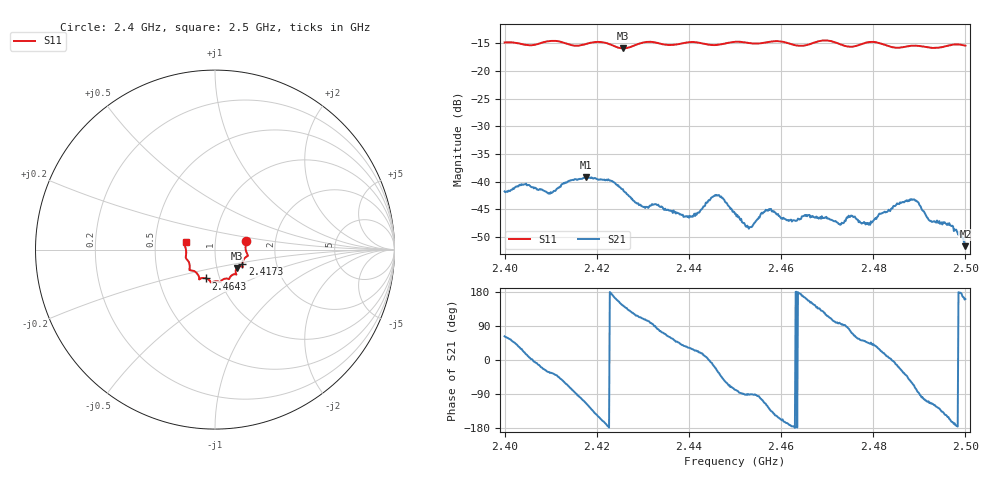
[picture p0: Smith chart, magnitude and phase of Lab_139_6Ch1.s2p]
# Hz S RI R 50
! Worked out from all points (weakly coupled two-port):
!   601 points, 2.4 GHz to 2.5 GHz, reference 50 ohm
!   highest |S21| = -39.19 dB at 2.4177 GHz (marker M1); lowest = -51.7 dB at 2.5 GHz (marker M2)
!   lowest |S11| = -15.9 dB at 2.4257 GHz (marker M3), VSWR 1.38, Z = 62.5 - j13.1 ohm
!   |S11| at or under -10 dB: start of sweep to end of sweep
!   S12 and S22 are empty: the file has one direction only
!   S11 on the Smith chart (normalised r, x): 2.4 GHz: 1.41, +0.14; 2.4173 GHz: 1.34, -0.23; 2.4643 GHz: 0.86, -0.28; 2.5 GHz: 0.72, +0.06
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2.4e9  0.1735 0.0492  0.00375 0.00722  0 0  0 0
2.404167e9  0.1713 0.0234  0.00876 0.00341  0 0  0 0
2.41e9  0.1833 -0.0323  0.00667 -0.00442  0 0  0 0
2.416667e9  0.1534 -0.0748  -0.00222 -0.0103  0 0  0 0
2.417333e9  0.1526 -0.0823  -0.00362 -0.0102  0 0  0 0
2.417667e9  0.1526 -0.0857  -0.00452 -0.01  0 0  0 0
2.425667e9  0.1226 -0.1019  -0.00691 0.00498  0 0  0 0
2.43e9  0.1178 -0.1361  -0.00196 0.00559  0 0  0 0
2.433333e9  0.1132 -0.1371  0.000937 0.00611  0 0  0 0
2.4405e9  0.0788 -0.1642  0.00416 0.00241  0 0  0 0
2.446167e9  0.0464 -0.1655  0.00655 -0.0036  0 0  0 0
2.45e9  0.0294 -0.1807  0.00102 -0.00499  0 0  0 0
2.453e9  0.0176 -0.1776  -6.4e-05 -0.00375  0 0  0 0
2.457167e9  -0.0144 -0.1814  -0.00308 -0.00448  0 0  0 0
2.464333e9  -0.05 -0.1607  -0.00456 0.000509  0 0  0 0
2.466667e9  -0.0759 -0.1596  -0.00419 0.00236  0 0  0 0
2.478833e9  -0.1399 -0.1153  0.00294 0.00302  0 0  0 0
2.483333e9  -0.1407 -0.0902  0.00552 0.000625  0 0  0 0
2.489167e9  -0.1627 -0.0449  0.00175 -0.00646  0 0  0 0
2.492167e9  -0.1608 -0.0235  -0.00177 -0.00409  0 0  0 0
2.496833e9  -0.1693 0.0251  -0.00377 -0.00134  0 0  0 0
2.5e9  -0.1636 0.0418  -0.00246 0.000849  0 0  0 0
